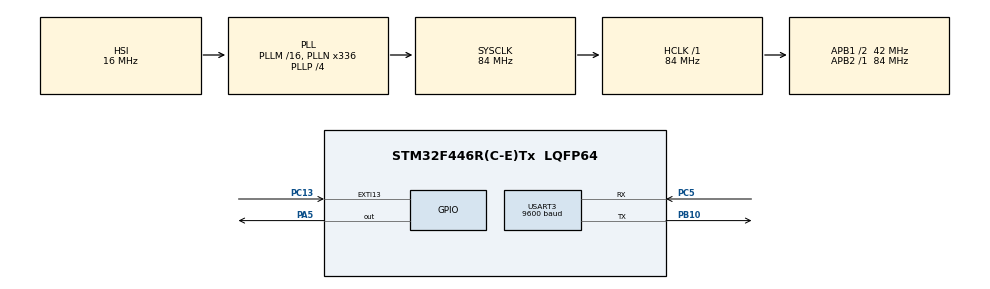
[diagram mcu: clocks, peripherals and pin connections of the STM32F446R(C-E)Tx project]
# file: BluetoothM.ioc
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Mcu.Family=STM32F4
Mcu.Name=STM32F446R(C-E)Tx
Mcu.Package=LQFP64
NVIC.PriorityGroup=NVIC_PRIORITYGROUP_0
NVIC.TIM3_IRQn=true\:0\:0\:false\:false\:true\:true\:true\:true
NVIC.USART3_IRQn=true\:0\:0\:false\:false\:true\:true\:true\:true
PA13.GPIO_Label=TMS
PA13.Mode=Serial_Wire
PA13.Signal=SYS_JTMS-SWDIO
PA14.GPIO_Label=TCK
PA14.Mode=Serial_Wire
PA14.Signal=SYS_JTCK-SWCLK
PA5.Signal=GPIO_Output
PB10.GPIO_ModeDefaultPP=GPIO_MODE_AF_PP
PB10.GPIO_Speed=GPIO_SPEED_FREQ_HIGH
PB10.Mode=Asynchronous
PB10.Signal=USART3_TX
PB3.GPIO_Label=SWO
PB3.Signal=SYS_JTDO-SWO
PC13.Signal=GPXTI13
PC14-OSC32_IN.Mode=LSE-External-Oscillator
PC14-OSC32_IN.Signal=RCC_OSC32_IN
PC15-OSC32_OUT.Mode=LSE-External-Oscillator
PC15-OSC32_OUT.Signal=RCC_OSC32_OUT
PC5.GPIO_ModeDefaultPP=GPIO_MODE_AF_PP
PC5.GPIO_PuPd=GPIO_PULLUP
PC5.GPIO_Speed=GPIO_SPEED_FREQ_HIGH
PC5.Mode=Asynchronous
PC5.Signal=USART3_RX
PH0-OSC_IN.Mode=HSE-External-Oscillator
PH0-OSC_IN.Signal=RCC_OSC_IN
PH1-OSC_OUT.Mode=HSE-External-Oscillator
PH1-OSC_OUT.Signal=RCC_OSC_OUT
ProjectManager.HeapSize=0x200
ProjectManager.StackSize=0x400
ProjectManager.TargetToolchain=STM32CubeIDE
RCC.48MHZClocksFreq_Value=84000000
RCC.AHBFreq_Value=84000000
RCC.APB1CLKDivider=RCC_HCLK_DIV2
RCC.APB1Freq_Value=42000000
RCC.APB1TimFreq_Value=84000000
RCC.APB2Freq_Value=84000000
RCC.APB2TimFreq_Value=84000000
RCC.CortexFreq_Value=84000000
RCC.FLatency-AdvancedSettings=FLASH_LATENCY_2
RCC.HCLKFreq_Value=84000000
RCC.HSE_VALUE=8000000
RCC.HSI_VALUE=16000000
RCC.PLLN=336
RCC.PLLP=RCC_PLLP_DIV4
RCC.SYSCLKFreq_VALUE=84000000
RCC.SYSCLKSource=RCC_SYSCLKSOURCE_PLLCLK
RCC.USBFreq_Value=168000000
RCC.VCOOutputFreq_Value=336000000
TIM3.Period=1999
TIM3.Prescaler=7999
TIM3.TIM_MasterOutputTrigger=TIM_TRGO_UPDATE
USART3.BaudRate=9600
USART3.VirtualMode=VM_ASYNC
VP_TIM3_VS_ClockSourceINT.Mode=Internal
board=NUCLEO-F446RE

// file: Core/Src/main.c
/* USER CODE BEGIN Header */
/**
  ******************************************************************************
  * @file           : main.c
  * @brief          : Main program body
  ******************************************************************************
  * @attention
  *
  * Copyright (c) 2022 STMicroelectronics.
  * All rights reserved.
  *
  * This software is licensed under terms that can be found in the LICENSE file
  * in the root directory of this software component.
  * If no LICENSE file comes with this software, it is provided AS-IS.
  *
  ******************************************************************************
  */
/* USER CODE END Header */
#include "main.h"

/* USER CODE BEGIN Includes */
#include "string.h"
#include "stdio.h"
/* USER CODE END Includes */

TIM_HandleTypeDef htim3;

UART_HandleTypeDef huart3;

/* USER CODE BEGIN PV */

int flag,j,a;
uint8_t rx;
char str1[60]={0};

int len;
char buffer[100];

int i;

/* USER CODE END PV */

void SystemClock_Config(void);
static void MX_GPIO_Init(void);
static void MX_TIM3_Init(void);
static void MX_USART3_UART_Init(void);

/* USER CODE BEGIN 0 */

void HAL_UART_RxCpltCallback(UART_HandleTypeDef *huart)
{
if(huart==&huart3)
{
if(rx == 0x0A)
	flag=1;
	str1[a]=rx;
 a++;
}
HAL_UART_Receive_IT(&huart3,&rx,1);
}

void HAL_TIM_PeriodElapsedCallback(TIM_HandleTypeDef *htim){
if(htim==&htim3)
{
	sprintf(buffer,"%i Welcome to our uP trainer board from Group 1 EEE'17 SecA.\r\n",i);
	i++;
		len=strlen(buffer);
		HAL_UART_Transmit(&huart3,buffer,len,100);
}
}

/* USER CODE END 0 */

int main(void)
{

  /* MCU Configuration--------------------------------------------------------*/

  /* Reset of all peripherals, Initializes the Flash interface and the Systick. */
  HAL_Init();

  /* Configure the system clock */
  SystemClock_Config();

  /* Initialize all configured peripherals */
  MX_GPIO_Init();
  MX_TIM3_Init();
  MX_USART3_UART_Init();
  /* USER CODE BEGIN 2 */

  HAL_UART_Receive_IT(&huart3,&rx,1);
  HAL_TIM_Base_Start_IT(&htim3);

  /* USER CODE END 2 */

  /* Infinite loop */
  while (1)
  {

    /* USER CODE BEGIN 3 */

	  if(flag==1)
	  		{
	  			a=0;
	  	HAL_Delay(50);
	  	for(j=0;j<60;j++){

	  		if((str1[j]=='L')  &&  (str1[j+1]=='E')  &&  (str1[j+2]=='D')  &&  (str1[j+3]=='O')  &&  (str1[j+4]=='N') ){
	  		//HAL_Delay(1000);
	  		HAL_GPIO_WritePin(GPIOA,GPIO_PIN_5,1);
	  		for(j=0;j<60;j++){str1[j]=0;}

	  	}}

	  	for(j=0;j<60;j++){

	  		if((str1[j]=='L')  &&  (str1[j+1]=='E')  &&  (str1[j+2]=='D')  &&  (str1[j+3]=='O')  &&  (str1[j+4]=='F')  &&  (str1[j+5]=='F') ){
	  		//HAL_Delay(1000);
	  		HAL_GPIO_WritePin(GPIOA,GPIO_PIN_5,0);
	  		for(j=0;j<60;j++){str1[j]=0;}

	  		}}
	  	flag=0;
	  		}
  }
  /* USER CODE END 3 */
}

void SystemClock_Config(void)
{
  RCC_OscInitTypeDef RCC_OscInitStruct = {0};
  RCC_ClkInitTypeDef RCC_ClkInitStruct = {0};

  /** Configure the main internal regulator output voltage
  */
  __HAL_RCC_PWR_CLK_ENABLE();
  __HAL_PWR_VOLTAGESCALING_CONFIG(PWR_REGULATOR_VOLTAGE_SCALE3);

  /** Initializes the RCC Oscillators according to the specified parameters
  * in the RCC_OscInitTypeDef structure.
  */
  RCC_OscInitStruct.OscillatorType = RCC_OSCILLATORTYPE_HSI;
  RCC_OscInitStruct.HSIState = RCC_HSI_ON;
  RCC_OscInitStruct.HSICalibrationValue = RCC_HSICALIBRATION_DEFAULT;
  RCC_OscInitStruct.PLL.PLLState = RCC_PLL_ON;
  RCC_OscInitStruct.PLL.PLLSource = RCC_PLLSOURCE_HSI;
  RCC_OscInitStruct.PLL.PLLM = 16;
  RCC_OscInitStruct.PLL.PLLN = 336;
  RCC_OscInitStruct.PLL.PLLP = RCC_PLLP_DIV4;
  RCC_OscInitStruct.PLL.PLLQ = 2;
  RCC_OscInitStruct.PLL.PLLR = 2;
  if (HAL_RCC_OscConfig(&RCC_OscInitStruct) != HAL_OK)
  {
    Error_Handler();
  }

  /** Initializes the CPU, AHB and APB buses clocks
  */
  RCC_ClkInitStruct.ClockType = RCC_CLOCKTYPE_HCLK|RCC_CLOCKTYPE_SYSCLK
                              |RCC_CLOCKTYPE_PCLK1|RCC_CLOCKTYPE_PCLK2;
  RCC_ClkInitStruct.SYSCLKSource = RCC_SYSCLKSOURCE_PLLCLK;
  RCC_ClkInitStruct.AHBCLKDivider = RCC_SYSCLK_DIV1;
  RCC_ClkInitStruct.APB1CLKDivider = RCC_HCLK_DIV2;
  RCC_ClkInitStruct.APB2CLKDivider = RCC_HCLK_DIV1;

  if (HAL_RCC_ClockConfig(&RCC_ClkInitStruct, FLASH_LATENCY_2) != HAL_OK)
  {
    Error_Handler();
  }
}

static void MX_TIM3_Init(void)
{

  TIM_ClockConfigTypeDef sClockSourceConfig = {0};
  TIM_MasterConfigTypeDef sMasterConfig = {0};

  htim3.Instance = TIM3;
  htim3.Init.Prescaler = 7999;
  htim3.Init.CounterMode = TIM_COUNTERMODE_UP;
  htim3.Init.Period = 1999;
  htim3.Init.ClockDivision = TIM_CLOCKDIVISION_DIV1;
  htim3.Init.AutoReloadPreload = TIM_AUTORELOAD_PRELOAD_DISABLE;
  if (HAL_TIM_Base_Init(&htim3) != HAL_OK)
  {
    Error_Handler();
  }
  sClockSourceConfig.ClockSource = TIM_CLOCKSOURCE_INTERNAL;
  if (HAL_TIM_ConfigClockSource(&htim3, &sClockSourceConfig) != HAL_OK)
  {
    Error_Handler();
  }
  sMasterConfig.MasterOutputTrigger = TIM_TRGO_UPDATE;
  sMasterConfig.MasterSlaveMode = TIM_MASTERSLAVEMODE_DISABLE;
  if (HAL_TIMEx_MasterConfigSynchronization(&htim3, &sMasterConfig) != HAL_OK)
  {
    Error_Handler();
  }

}

static void MX_USART3_UART_Init(void)
{

  huart3.Instance = USART3;
  huart3.Init.BaudRate = 9600;
  huart3.Init.WordLength = UART_WORDLENGTH_8B;
  huart3.Init.StopBits = UART_STOPBITS_1;
  huart3.Init.Parity = UART_PARITY_NONE;
  huart3.Init.Mode = UART_MODE_TX_RX;
  huart3.Init.HwFlowCtl = UART_HWCONTROL_NONE;
  huart3.Init.OverSampling = UART_OVERSAMPLING_16;
  if (HAL_UART_Init(&huart3) != HAL_OK)
  {
    Error_Handler();
  }

}

static void MX_GPIO_Init(void)
{
  GPIO_InitTypeDef GPIO_InitStruct = {0};

  /* GPIO Ports Clock Enable */
  __HAL_RCC_GPIOC_CLK_ENABLE();
  __HAL_RCC_GPIOH_CLK_ENABLE();
  __HAL_RCC_GPIOA_CLK_ENABLE();
  __HAL_RCC_GPIOB_CLK_ENABLE();

  /*Configure GPIO pin Output Level */
  HAL_GPIO_WritePin(GPIOA, GPIO_PIN_5, GPIO_PIN_RESET);

  /*Configure GPIO pin : PC13 */
  GPIO_InitStruct.Pin = GPIO_PIN_13;
  GPIO_InitStruct.Mode = GPIO_MODE_IT_RISING;
  GPIO_InitStruct.Pull = GPIO_NOPULL;
  HAL_GPIO_Init(GPIOC, &GPIO_InitStruct);

  /*Configure GPIO pin : PA5 */
  GPIO_InitStruct.Pin = GPIO_PIN_5;
  GPIO_InitStruct.Mode = GPIO_MODE_OUTPUT_PP;
  GPIO_InitStruct.Pull = GPIO_NOPULL;
  GPIO_InitStruct.Speed = GPIO_SPEED_FREQ_LOW;
  HAL_GPIO_Init(GPIOA, &GPIO_InitStruct);

}

void Error_Handler(void)
{
  __disable_irq();
  while (1)
  {
  }
}
